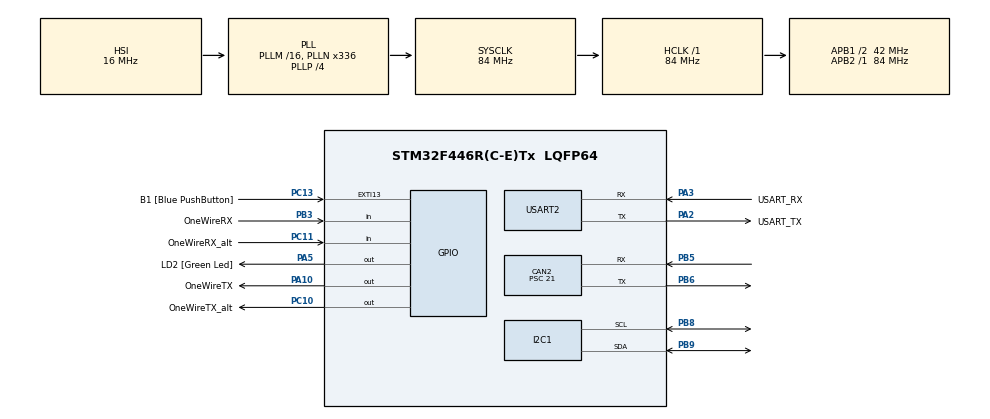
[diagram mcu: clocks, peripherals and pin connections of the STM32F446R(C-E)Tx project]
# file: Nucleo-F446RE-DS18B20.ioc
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CAN2.BS1=CAN_BS1_13TQ
CAN2.BS2=CAN_BS2_2TQ
CAN2.CalculateBaudRate=125000
CAN2.CalculateTimeBit=8000
CAN2.CalculateTimeQuantum=500.0
CAN2.Prescaler=21
Mcu.Family=STM32F4
Mcu.Name=STM32F446R(C-E)Tx
Mcu.Package=LQFP64
NVIC.CAN2_RX0_IRQn=true\:0\:0\:false\:false\:true\:true\:true\:true
NVIC.PriorityGroup=NVIC_PRIORITYGROUP_0
NVIC.TIM7_IRQn=true\:0\:0\:false\:false\:true\:true\:true\:true
PA10.GPIO_Label=OneWireTX
PA10.Signal=GPIO_Output
PA13.GPIO_Label=TMS
PA13.Mode=Serial_Wire
PA13.Signal=SYS_JTMS-SWDIO
PA14.GPIO_Label=TCK
PA14.Mode=Serial_Wire
PA14.Signal=SYS_JTCK-SWCLK
PA2.GPIO_Label=USART_TX
PA2.Mode=Asynchronous
PA2.Signal=USART2_TX
PA3.GPIO_Label=USART_RX
PA3.Mode=Asynchronous
PA3.Signal=USART2_RX
PA5.GPIO_Label=LD2 [Green Led]
PA5.Signal=GPIO_Output
PB3.GPIO_Label=OneWireRX
PB3.GPIO_PuPd=GPIO_PULLUP
PB3.Signal=GPIO_Input
PB5.Mode=CAN_Activate
PB5.Signal=CAN2_RX
PB6.Mode=CAN_Activate
PB6.Signal=CAN2_TX
PB8.Mode=I2C
PB8.Signal=I2C1_SCL
PB9.Mode=I2C
PB9.Signal=I2C1_SDA
PC10.GPIO_Label=OneWireTX_alt
PC10.Signal=GPIO_Output
PC11.GPIO_Label=OneWireRX_alt
PC11.GPIO_PuPd=GPIO_PULLUP
PC11.Signal=GPIO_Input
PC13.GPIO_Label=B1 [Blue PushButton]
PC13.GPIO_ModeDefaultEXTI=GPIO_MODE_IT_FALLING
PC13.Signal=GPXTI13
PC14-OSC32_IN.Mode=LSE-External-Oscillator
PC14-OSC32_IN.Signal=RCC_OSC32_IN
PC15-OSC32_OUT.Mode=LSE-External-Oscillator
PC15-OSC32_OUT.Signal=RCC_OSC32_OUT
PH0-OSC_IN.Mode=HSE-External-Oscillator
PH0-OSC_IN.Signal=RCC_OSC_IN
PH1-OSC_OUT.Mode=HSE-External-Oscillator
PH1-OSC_OUT.Signal=RCC_OSC_OUT
ProjectManager.HeapSize=0x200
ProjectManager.StackSize=0x400
ProjectManager.TargetToolchain=STM32CubeIDE
RCC.48MHZClocksFreq_Value=84000000
RCC.AHBFreq_Value=84000000
RCC.APB1CLKDivider=RCC_HCLK_DIV2
RCC.APB1Freq_Value=42000000
RCC.APB1TimFreq_Value=84000000
RCC.APB2Freq_Value=84000000
RCC.APB2TimFreq_Value=84000000
RCC.CortexFreq_Value=84000000
RCC.FLatency-AdvancedSettings=FLASH_LATENCY_2
RCC.HCLKFreq_Value=84000000
RCC.HSE_VALUE=8000000
RCC.HSI_VALUE=16000000
RCC.PLLN=336
RCC.PLLP=RCC_PLLP_DIV4
RCC.SYSCLKFreq_VALUE=84000000
RCC.SYSCLKSource=RCC_SYSCLKSOURCE_PLLCLK
RCC.USBFreq_Value=168000000
RCC.VCOOutputFreq_Value=336000000
TIM6.Prescaler=21-1
TIM7.Period=10000-1
TIM7.Prescaler=8400-1
USART2.VirtualMode=VM_ASYNC
VP_TIM6_VS_ClockSourceINT.Mode=Enable_Timer
VP_TIM7_VS_ClockSourceINT.Mode=Enable_Timer
board=NUCLEO-F446RE

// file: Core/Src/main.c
/* USER CODE BEGIN Header */
/**
 ******************************************************************************
 * @file           : main.c
 * @brief          : Main program body
 ******************************************************************************
 * @attention
 *
 * Copyright (c) 2024 STMicroelectronics.
 * All rights reserved.
 *
 * This software is licensed under terms that can be found in the LICENSE file
 * in the root directory of this software component.
 * If no LICENSE file comes with this software, it is provided AS-IS.
 *
 ******************************************************************************
 */
/* USER CODE END Header */
#include "main.h"
#include "can.h"
#include "i2c.h"
#include "tim.h"
#include "usart.h"
#include "gpio.h"

/* USER CODE BEGIN Includes */
#include "ds18b20.h"
#include "app_can.h"
/* USER CODE END Includes */

void SystemClock_Config(void);

/* USER CODE BEGIN 0 */
uint32_t tickNow = 0;
uint32_t tick = 0;
/* USER CODE END 0 */

int main(void) {

	/* MCU Configuration--------------------------------------------------------*/

	/* Reset of all peripherals, Initializes the Flash interface and the Systick. */
	HAL_Init();

	/* Configure the system clock */
	SystemClock_Config();

	/* Initialize all configured peripherals */
	MX_GPIO_Init();
	MX_USART2_UART_Init();
	MX_TIM6_Init();
	MX_CAN2_Init();
	MX_I2C1_Init();
	MX_TIM7_Init();
	/* USER CODE BEGIN 2 */

	/* CAN Stuff */
	app_can_set_msg_filter();

	app_can_start();

	HAL_Delay(100);
	if (app_can_send_test_msg() != 0) {
		my_printf("Sending Test CAN Msg Failed\n");
	}
	/* CAN Stuff End */

	/* USER CODE END 2 */

	/* Infinite loop */
	/* USER CODE BEGIN WHILE */

	app_can_send_test_msg();

	HAL_TIM_Base_Start_IT(&htim7);

	HAL_Delay(300);

	my_printf("DS18B20 One Wire Temperature Sensor Demo\n");
	my_printf("\nStart 1-Wire Search Algorithm ... \n");
	uint8_t n = ds18b20_scan_for_devices_on_bus();
	my_printf("\nSummary: Found %d DS18B20 Sensors on the 1-Wire Bus\n", n);

	for (uint8_t i = 0; i < n; i++) {
		DS18B20_t ds18b20;
		if (ds18b20_get_devices_serial_number(i, &ds18b20)) {
			my_printf("..Found Device with SerNo: %d %d %d %d %d %d %d %d\n",
					ds18b20.familycode, ds18b20.ID[0], ds18b20.ID[1],
					ds18b20.ID[2], ds18b20.ID[3], ds18b20.ID[4], ds18b20.ID[5],
					ds18b20.CRC_Byte);
		}
	}

	my_printf("Start Continuously Reading of DS18B20 Sensors on the 1-Wire Bus\n\n");
	ds18b20_send_start_conversion_to_all_devices();
	while (1) {
		/* USER CODE END WHILE */

		/* USER CODE BEGIN 3 */
		static int32_t t1;
		static int32_t t2;
		static int32_t t3;
		static int32_t t4;
		tickNow = HAL_GetTick();

		if (ds18b20_check_conversion_finished()) {
			ds18b20_read_temperature_from_scratchpad(0, &t1);
			ds18b20_read_temperature_from_scratchpad(1, &t2);
			ds18b20_read_temperature_from_scratchpad(2, &t3);
			ds18b20_read_temperature_from_scratchpad(3, &t4);
			ds18b20_send_start_conversion_to_all_devices();
		}

		// quick and dirty timing scheduler for out put results to record on serial terminal
		if ((tickNow - tick) >= 5000) {
			tick = tickNow;

			float f1,f2,f3,f4;
			f1 = t1/1000.0;
			f2 = t2/1000.0;
			f3 = t3/1000.0;
			f4 = t4/1000.0;
			my_printf("{"
					"\"T1\": %2.2f,"
					"\"T2\": %2.2f,"
					"\"T3\": %2.2f,"
					"\"T4\": %2.2f}\r\n", f1, f2, f3, f4);
		}

		/* two ore more 1Wire-Device on the bus! */
		//ds18b20_demo_multi();
		/* one single 1Wire-Device on the bus only! */
		//ds18b20_demo();
	}
	/* USER CODE END 3 */
}

void SystemClock_Config(void) {
	RCC_OscInitTypeDef RCC_OscInitStruct = { 0 };
	RCC_ClkInitTypeDef RCC_ClkInitStruct = { 0 };

	/** Configure the main internal regulator output voltage
	 */
	__HAL_RCC_PWR_CLK_ENABLE();
	__HAL_PWR_VOLTAGESCALING_CONFIG(PWR_REGULATOR_VOLTAGE_SCALE3);

	/** Initializes the RCC Oscillators according to the specified parameters
	 * in the RCC_OscInitTypeDef structure.
	 */
	RCC_OscInitStruct.OscillatorType = RCC_OSCILLATORTYPE_HSI;
	RCC_OscInitStruct.HSIState = RCC_HSI_ON;
	RCC_OscInitStruct.HSICalibrationValue = RCC_HSICALIBRATION_DEFAULT;
	RCC_OscInitStruct.PLL.PLLState = RCC_PLL_ON;
	RCC_OscInitStruct.PLL.PLLSource = RCC_PLLSOURCE_HSI;
	RCC_OscInitStruct.PLL.PLLM = 16;
	RCC_OscInitStruct.PLL.PLLN = 336;
	RCC_OscInitStruct.PLL.PLLP = RCC_PLLP_DIV4;
	RCC_OscInitStruct.PLL.PLLQ = 2;
	RCC_OscInitStruct.PLL.PLLR = 2;
	if (HAL_RCC_OscConfig(&RCC_OscInitStruct) != HAL_OK) {
		Error_Handler();
	}

	/** Initializes the CPU, AHB and APB buses clocks
	 */
	RCC_ClkInitStruct.ClockType = RCC_CLOCKTYPE_HCLK | RCC_CLOCKTYPE_SYSCLK
			| RCC_CLOCKTYPE_PCLK1 | RCC_CLOCKTYPE_PCLK2;
	RCC_ClkInitStruct.SYSCLKSource = RCC_SYSCLKSOURCE_PLLCLK;
	RCC_ClkInitStruct.AHBCLKDivider = RCC_SYSCLK_DIV1;
	RCC_ClkInitStruct.APB1CLKDivider = RCC_HCLK_DIV2;
	RCC_ClkInitStruct.APB2CLKDivider = RCC_HCLK_DIV1;

	if (HAL_RCC_ClockConfig(&RCC_ClkInitStruct, FLASH_LATENCY_2) != HAL_OK) {
		Error_Handler();
	}
}

/* USER CODE BEGIN 4 */

void HAL_CAN_RxFifo0FullCallback(CAN_HandleTypeDef *hcan) {
	my_printf(" CAN fifo full \n");
}

void HAL_CAN_ErrorCallback(CAN_HandleTypeDef *hcan) {
	uint32_t error = hcan->ErrorCode; /*!< This parameter can be a value of @ref CAN_Error_Code */

	my_printf("CAN Error %d\n", error);

}

void HAL_CAN_RxFifo0MsgPendingCallback(CAN_HandleTypeDef *hcan) {
	CAN_RxHeaderTypeDef sRxHeader;
	HAL_StatusTypeDef TX_RX_status;
	uint32_t fifoFillLevel;
	uint8_t RxData[8];
	uint8_t canHW = 0;
	uint32_t canID = 0;

	if (hcan->Instance == CAN2) {
		fifoFillLevel = HAL_CAN_GetRxFifoFillLevel(&hcan2, CAN_RX_FIFO0);
		TX_RX_status = HAL_CAN_GetRxMessage(&hcan2, CAN_RX_FIFO0, &sRxHeader,
				RxData);
		canHW = 2;
	}

	if ( CAN_ID_STD == sRxHeader.IDE) {
		canID = sRxHeader.StdId;
	}

	if ( CAN_ID_EXT == sRxHeader.IDE) {
		canID = sRxHeader.ExtId;
	}

	char buf[128];
	uint16_t s = 0;
	s = sprintf(buf,
			"Rec from CAN %d with ID 0x%lX Msg: %d %d %d %d %d %d %d %d\n",
			canHW, canID, RxData[0], RxData[1], RxData[2], RxData[3], RxData[4],
			RxData[5], RxData[6], RxData[7]);
	HAL_UART_Transmit(&huart2, (uint8_t*) buf, s, 100);

}

void HAL_TIM_PeriodElapsedCallback(TIM_HandleTypeDef *htim) {

	if (htim->Instance == TIM7) {
		app_can_send_test_msg();
	}
}

/* USER CODE END 4 */

void Error_Handler(void) {
	__disable_irq();
	while (1) {
	}
}
